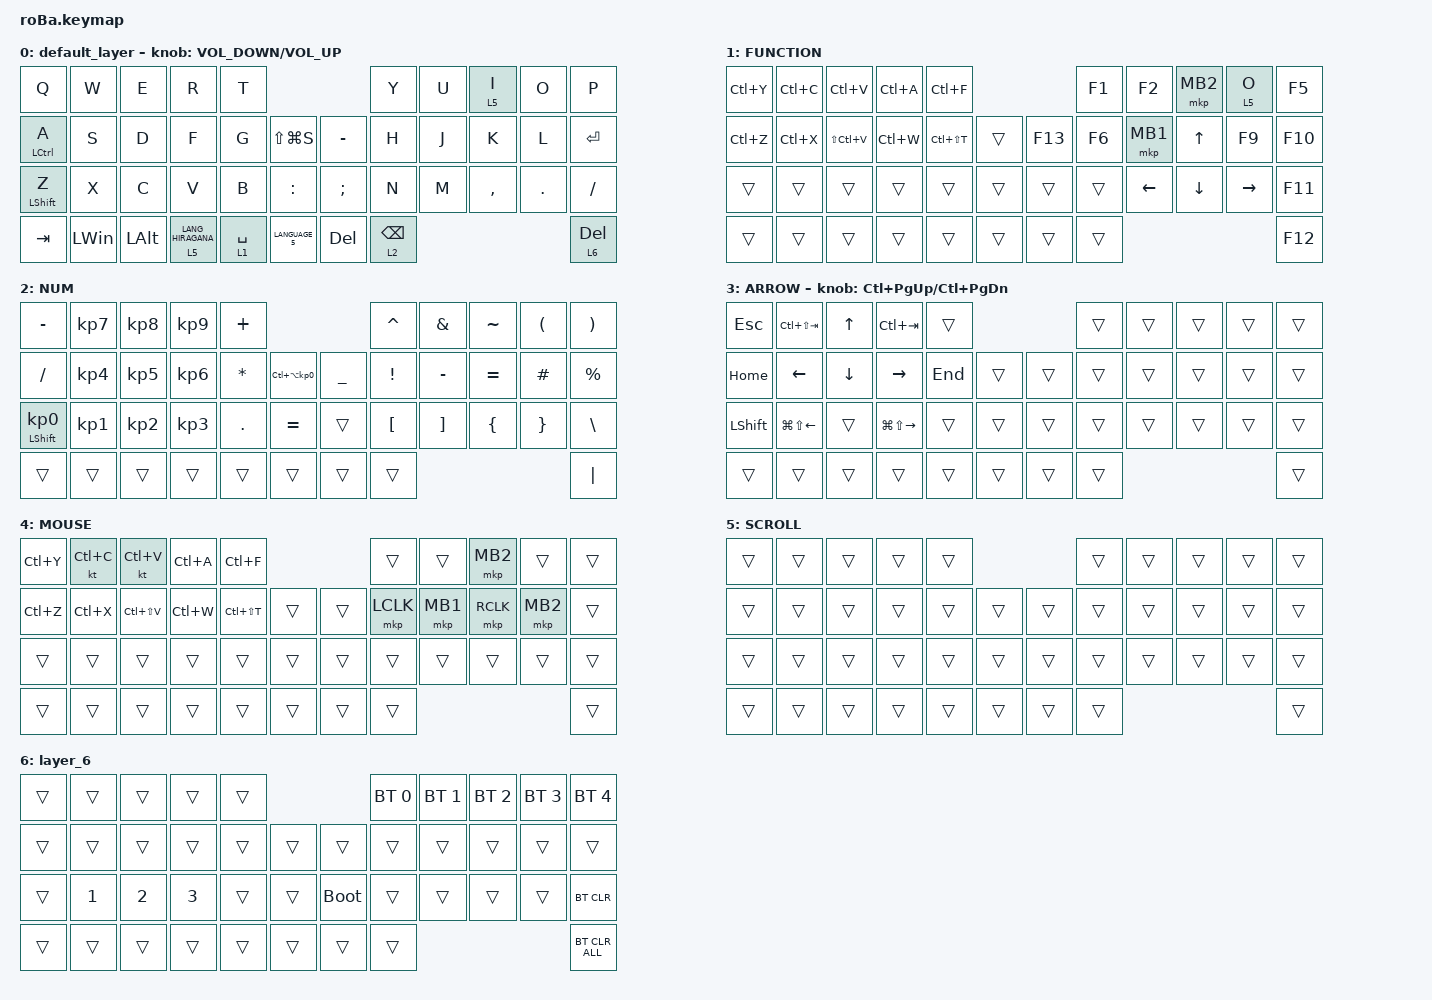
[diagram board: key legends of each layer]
#include <behaviors.dtsi>
#include <dt-bindings/zmk/bt.h>
#include <dt-bindings/zmk/keys.h>
#include <dt-bindings/zmk/pointing.h>

&mt {
    flavor = "balanced";
    quick-tap-ms = <0>;
};


&trackball {
    automouse-layer = <4>;
    scroll-layers = <5>;

    // arrows {
    //     layers = <3>;
    //     bindings =
    //         <&kp RIGHT_ARROW>,
    //         <&kp LEFT_ARROW>,
    //         <&kp UP_ARROW>,
    //         <&kp DOWN_ARROW>;

    //     tick = <10>;
    //     wait-ms = <5>;
    //     tap-ms = <5>;
    // };
};

/ {
    combos { compatible = "zmk,combos"; };

    macros {
        to_layer_0: to_layer_0 {
            compatible = "zmk,behavior-macro-one-param";
            #binding-cells = <1>;
            bindings = <&to 0 &macro_param_1to1 &kp MACRO_PLACEHOLDER>;
            label = "TO_LAYER_0";
        };
    };

    behaviors {
        lt_to_layer_0: lt_to_layer_0 {
            compatible = "zmk,behavior-hold-tap";
            label = "LAYER_TAP_TO_0";
            bindings = <&mo>, <&to_layer_0>;

            #binding-cells = <2>;
            tapping-term-ms = <200>;
        };
    };

    keymap {
        compatible = "zmk,keymap";

        default_layer {
            bindings = <
&kp Q               &kp W         &kp E         &kp R                           &kp T                                                      &kp Y            &kp U  &lt 5 I    &kp O    &kp P
&mt LEFT_CONTROL A  &kp S         &kp D         &kp F                           &kp G                   &kp LS(LG(S))       &kp MINUS      &kp H            &kp J  &kp K      &kp L    &kp ENTER
&mt LEFT_SHIFT Z    &kp X         &kp C         &kp V                           &kp B                   &kp COLON           &kp SEMICOLON  &kp N            &kp M  &kp COMMA  &kp DOT  &kp SLASH
&kp TAB             &kp LEFT_WIN  &kp LEFT_ALT  &lt_to_layer_0 5 LANG_HIRAGANA  &lt_to_layer_0 1 SPACE  &kp LANGUAGE_5      &kp DELETE     &lt 2 BACKSPACE                             &lt_to_layer_0 6 DELETE
            >;

            sensor-bindings = <&inc_dec_kp C_VOLUME_DOWN C_VOLUME_UP>;
        };

        FUNCTION {
            bindings = <
&kp LC(Y)  &kp LC(C)  &kp LC(V)      &kp LC(A)  &kp LC(F)                           &kp F1  &kp F2          &mkp MB2        &lt_to_layer_0 5 O  &kp F5
&kp LC(Z)  &kp LC(X)  &kp LS(LC(V))  &kp LC(W)  &kp LC(LS(T))  &trans      &kp F13  &kp F6  &mkp MB1        &kp UP_ARROW    &kp F9              &kp F10
&trans     &trans     &trans         &trans     &trans         &trans      &trans   &trans  &kp LEFT_ARROW  &kp DOWN_ARROW  &kp RIGHT_ARROW     &kp F11
&trans     &trans     &trans         &trans     &trans         &trans      &trans   &trans                                                      &kp F12
            >;
        };

        NUM {
            bindings = <
&kp MINUS                   &kp KP_NUMBER_7  &kp KP_NUMBER_8  &kp KP_NUMBER_9  &kp PLUS                                                   &kp CARET         &kp AMPERSAND      &kp TILDE       &kp LEFT_PARENTHESIS  &kp RIGHT_PARENTHESIS
&kp SLASH                   &kp KP_NUMBER_4  &kp KP_NUMBER_5  &kp KP_NUMBER_6  &kp ASTERISK  &kp LC(LA(KP_NUMBER_0))      &kp UNDERSCORE  &kp EXCLAMATION   &kp MINUS          &kp EQUAL       &kp HASH              &kp PERCENT
&mt LEFT_SHIFT KP_NUMBER_0  &kp KP_NUMBER_1  &kp KP_NUMBER_2  &kp KP_NUMBER_3  &kp PERIOD    &kp EQUAL                    &trans          &kp LEFT_BRACKET  &kp RIGHT_BRACKET  &kp LEFT_BRACE  &kp RIGHT_BRACE       &kp BACKSLASH
&trans                      &trans           &trans           &trans           &trans        &trans                       &trans          &trans                                                                     &kp PIPE
            >;
        };

        ARROW {
            bindings = <
&kp ESCAPE      &kp LC(LS(TAB))         &kp UP_ARROW    &kp LC(TAB)              &trans                       &trans  &trans  &trans  &trans  &trans
&kp HOME        &kp LEFT_ARROW          &kp DOWN_ARROW  &kp RIGHT_ARROW          &kp END  &trans      &trans  &trans  &trans  &trans  &trans  &trans
&kp LEFT_SHIFT  &kp LG(LS(LEFT_ARROW))  &trans          &kp LG(LS(RIGHT_ARROW))  &trans   &trans      &trans  &trans  &trans  &trans  &trans  &trans
&trans          &trans                  &trans          &trans                   &trans   &trans      &trans  &trans                          &trans
            >;

            sensor-bindings = <&inc_dec_kp LC(PAGE_UP) LC(PAGE_DOWN)>;
        };

        MOUSE {
            bindings = <
&kp LC(Y)  &kt LC(C)  &kt LC(V)      &kp LC(A)  &kp LC(F)                          &trans     &trans    &mkp MB2   &trans    &trans
&kp LC(Z)  &kp LC(X)  &kp LC(LS(V))  &kp LC(W)  &kp LC(LS(T))  &trans      &trans  &mkp LCLK  &mkp MB1  &mkp RCLK  &mkp MB2  &trans
&trans     &trans     &trans         &trans     &trans         &trans      &trans  &trans     &trans    &trans     &trans    &trans
&trans     &trans     &trans         &trans     &trans         &trans      &trans  &trans                                    &trans
            >;
        };

        SCROLL {
            bindings = <
&trans  &trans  &trans  &trans  &trans                      &trans  &trans  &trans  &trans  &trans
&trans  &trans  &trans  &trans  &trans  &trans      &trans  &trans  &trans  &trans  &trans  &trans
&trans  &trans  &trans  &trans  &trans  &trans      &trans  &trans  &trans  &trans  &trans  &trans
&trans  &trans  &trans  &trans  &trans  &trans      &trans  &trans                          &trans
            >;
        };

        layer_6 {
            bindings = <
&trans  &trans        &trans        &trans        &trans                           &bt BT_SEL 0  &bt BT_SEL 1  &bt BT_SEL 2  &bt BT_SEL 3  &bt BT_SEL 4
&trans  &trans        &trans        &trans        &trans  &trans      &trans       &trans        &trans        &trans        &trans        &trans
&trans  &kp NUMBER_1  &kp NUMBER_2  &kp NUMBER_3  &trans  &trans      &bootloader  &trans        &trans        &trans        &trans        &bt BT_CLR
&trans  &trans        &trans        &trans        &trans  &trans      &trans       &trans                                                  &bt BT_CLR_ALL
            >;
        };
    };
};
